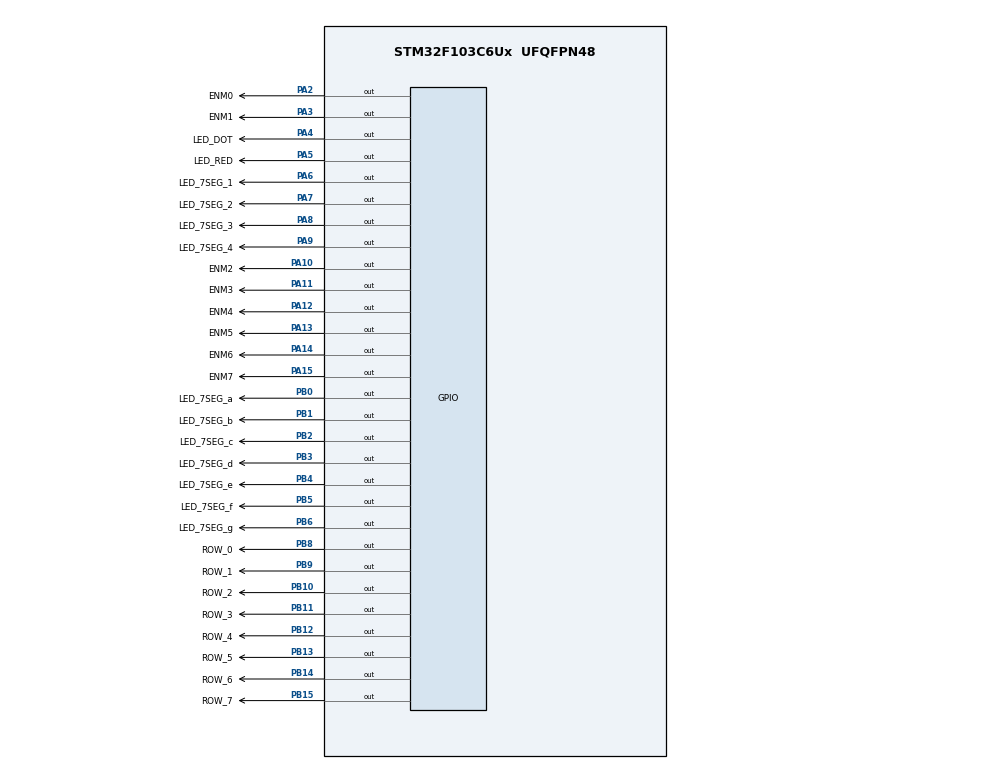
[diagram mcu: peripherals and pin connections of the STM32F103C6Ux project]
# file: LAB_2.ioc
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Mcu.Family=STM32F1
Mcu.Name=STM32F103C6Ux
Mcu.Package=UFQFPN48
NVIC.PriorityGroup=NVIC_PRIORITYGROUP_4
NVIC.TIM2_IRQn=true\:0\:0\:false\:false\:true\:true\:true
PA10.GPIO_Label=ENM2
PA10.Signal=GPIO_Output
PA11.GPIO_Label=ENM3
PA11.Signal=GPIO_Output
PA12.GPIO_Label=ENM4
PA12.Signal=GPIO_Output
PA13.GPIO_Label=ENM5
PA13.Signal=GPIO_Output
PA14.GPIO_Label=ENM6
PA14.Signal=GPIO_Output
PA15.GPIO_Label=ENM7
PA15.Signal=GPIO_Output
PA2.GPIO_Label=ENM0
PA2.Signal=GPIO_Output
PA3.GPIO_Label=ENM1
PA3.Signal=GPIO_Output
PA4.GPIO_Label=LED_DOT
PA4.Signal=GPIO_Output
PA5.GPIO_Label=LED_RED
PA5.Signal=GPIO_Output
PA6.GPIO_Label=LED_7SEG_1
PA6.Signal=GPIO_Output
PA7.GPIO_Label=LED_7SEG_2
PA7.Signal=GPIO_Output
PA8.GPIO_Label=LED_7SEG_3
PA8.Signal=GPIO_Output
PA9.GPIO_Label=LED_7SEG_4
PA9.Signal=GPIO_Output
PB0.GPIO_Label=LED_7SEG_a
PB0.Signal=GPIO_Output
PB1.GPIO_Label=LED_7SEG_b
PB1.Signal=GPIO_Output
PB10.GPIO_Label=ROW_2
PB10.Signal=GPIO_Output
PB11.GPIO_Label=ROW_3
PB11.Signal=GPIO_Output
PB12.GPIO_Label=ROW_4
PB12.Signal=GPIO_Output
PB13.GPIO_Label=ROW_5
PB13.Signal=GPIO_Output
PB14.GPIO_Label=ROW_6
PB14.Signal=GPIO_Output
PB15.GPIO_Label=ROW_7
PB15.Signal=GPIO_Output
PB2.GPIO_Label=LED_7SEG_c
PB2.Signal=GPIO_Output
PB3.GPIO_Label=LED_7SEG_d
PB3.Signal=GPIO_Output
PB4.GPIO_Label=LED_7SEG_e
PB4.Signal=GPIO_Output
PB5.GPIO_Label=LED_7SEG_f
PB5.Signal=GPIO_Output
PB6.GPIO_Label=LED_7SEG_g
PB6.Signal=GPIO_Output
PB8.GPIO_Label=ROW_0
PB8.Signal=GPIO_Output
PB9.GPIO_Label=ROW_1
PB9.Signal=GPIO_Output
ProjectManager.HeapSize=0x200
ProjectManager.StackSize=0x400
ProjectManager.TargetToolchain=STM32CubeIDE
RCC.AHBFreq_Value=8000000
RCC.APB1Freq_Value=8000000
RCC.APB1TimFreq_Value=8000000
RCC.APB2Freq_Value=8000000
RCC.APB2TimFreq_Value=8000000
RCC.HCLKFreq_Value=8000000
TIM2.Period=9
TIM2.Prescaler=1999
VP_SYS_VS_ND.Mode=No_Debug
VP_TIM2_VS_ClockSourceINT.Mode=Internal
board=custom

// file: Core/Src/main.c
/* USER CODE BEGIN Header */
/**
  ******************************************************************************
  * @file           : main.c
  * @brief          : Main program body
  ******************************************************************************
  * @attention
  *
  * <h2><center>&copy; Copyright (c) 2025 STMicroelectronics.
  * All rights reserved.</center></h2>
  *
  * This software component is licensed by ST under BSD 3-Clause license,
  * the "License"; You may not use this file except in compliance with the
  * License. You may obtain a copy of the License at:
  *                        opensource.org/licenses/BSD-3-Clause
  *
  ******************************************************************************
  */
/* USER CODE END Header */
#include "main.h"

/* USER CODE BEGIN Includes */
#include "software_timer.h"
/* USER CODE END Includes */

TIM_HandleTypeDef htim2;

/* USER CODE BEGIN PV */
const int MAX_LED_MATRIX = 8;
uint8_t matrix_buffer[8] = {0x18, 0x3C, 0x66, 0x66, 0x7E, 0x7E, 0x66, 0x66};

int hour = 15, minute = 08, second = 55;
/* USER CODE END PV */

void SystemClock_Config(void);
static void MX_TIM2_Init(void);
static void MX_GPIO_Init(void);

int main(void)
{

  /* MCU Configuration--------------------------------------------------------*/

  /* Reset of all peripherals, Initializes the Flash interface and the Systick. */
  HAL_Init();

  /* Configure the system clock */
  SystemClock_Config();

  /* Initialize all configured peripherals */
  MX_TIM2_Init();
  MX_GPIO_Init();
  /* USER CODE BEGIN 2 */
  HAL_TIM_Base_Start_IT(&htim2);
  HAL_GPIO_WritePin(LED_7SEG_1_GPIO_Port, LED_7SEG_1_Pin, SET);
  HAL_GPIO_WritePin(LED_7SEG_2_GPIO_Port, LED_7SEG_2_Pin, SET);
  HAL_GPIO_WritePin(LED_7SEG_3_GPIO_Port, LED_7SEG_3_Pin, SET);
  HAL_GPIO_WritePin(LED_7SEG_4_GPIO_Port, LED_7SEG_4_Pin, SET);

  //HAL_GPIO_WritePin(ROW_2_GPIO_Port, ROW_2_Pin, SET);

  /* USER CODE END 2 */

  /* Infinite loop */
  /* USER CODE BEGIN WHILE */
  setTimer0(100);//toggle led per second
  setTimer1(100);//toggle dot per second
  setTimer2(100);//digital clock set timer
  setTimer3(100);//update 7seg led buffer
  setTimer4(5);//led matrix
  setTimer5(200);//shift left
  int index_led_buffer = 0;
  int index_led_matrix = 0;
  while (1)
  {
	  //toggle led red per second
	  if(timer0_flag == 1)
	  {
		  setTimer0(400);
		  HAL_GPIO_TogglePin(LED_RED_GPIO_Port, LED_RED_Pin);
	  }
	  //toggle dot per second
	  if(timer1_flag == 1)
	  {
		  setTimer1(400);
		  HAL_GPIO_TogglePin(LED_DOT_GPIO_Port, LED_DOT_Pin);
	  }
	  //digital clock, update h, m, s
	  if(timer2_flag == 1)
	  {
		  setTimer2(400);
		  second++;
		  if(second >= 60)
		  {
			  second = 0;
			  minute++;
		  }
		  if(minute >= 60)
		  {
			  minute = 0;
			  hour++;
		  }
		  if(hour >= 24)
		  {
			  hour = 0;
		  }
		  updateClockBuffer();
	  }
	  //update led_buffer
	  if(timer3_flag == 1)
	  {
		  setTimer3(200);
		  update7SEG(index_led_buffer);
		  index_led_buffer++;
		  if(index_led_buffer >= 4) index_led_buffer = 0;
	  }
	  //display letter "A"
	  if(timer4_flag == 1)
	  {
		  setTimer4(2);
		  updateLEDMatrix(index_led_matrix);
		  index_led_matrix++;
		  if(index_led_matrix >= 8) index_led_matrix = 0;
	  }
	  //shift left animation
	  if(timer5_flag == 1)
	  {
		  setTimer5(100);
          for (int i = 0; i < 8; i++)
          {
        	  clearLedMatrix();
        	  uint8_t left_bit = (matrix_buffer[i] & 0x80) >> 7;
        	  matrix_buffer[i] = (matrix_buffer[i] << 1) | left_bit;

          }
	  }

    /* USER CODE END WHILE */

  }
}

void SystemClock_Config(void)
{
  RCC_OscInitTypeDef RCC_OscInitStruct = {0};
  RCC_ClkInitTypeDef RCC_ClkInitStruct = {0};

  /** Initializes the RCC Oscillators according to the specified parameters
  * in the RCC_OscInitTypeDef structure.
  */
  RCC_OscInitStruct.OscillatorType = RCC_OSCILLATORTYPE_HSI;
  RCC_OscInitStruct.HSIState = RCC_HSI_ON;
  RCC_OscInitStruct.HSICalibrationValue = RCC_HSICALIBRATION_DEFAULT;
  RCC_OscInitStruct.PLL.PLLState = RCC_PLL_NONE;
  if (HAL_RCC_OscConfig(&RCC_OscInitStruct) != HAL_OK)
  {
    Error_Handler();
  }
  /** Initializes the CPU, AHB and APB buses clocks
  */
  RCC_ClkInitStruct.ClockType = RCC_CLOCKTYPE_HCLK|RCC_CLOCKTYPE_SYSCLK
                              |RCC_CLOCKTYPE_PCLK1|RCC_CLOCKTYPE_PCLK2;
  RCC_ClkInitStruct.SYSCLKSource = RCC_SYSCLKSOURCE_HSI;
  RCC_ClkInitStruct.AHBCLKDivider = RCC_SYSCLK_DIV1;
  RCC_ClkInitStruct.APB1CLKDivider = RCC_HCLK_DIV1;
  RCC_ClkInitStruct.APB2CLKDivider = RCC_HCLK_DIV1;

  if (HAL_RCC_ClockConfig(&RCC_ClkInitStruct, FLASH_LATENCY_0) != HAL_OK)
  {
    Error_Handler();
  }
}

static void MX_TIM2_Init(void)
{

  TIM_ClockConfigTypeDef sClockSourceConfig = {0};
  TIM_MasterConfigTypeDef sMasterConfig = {0};

  htim2.Instance = TIM2;
  htim2.Init.Prescaler = 1999;
  htim2.Init.CounterMode = TIM_COUNTERMODE_UP;
  htim2.Init.Period = 9;
  htim2.Init.ClockDivision = TIM_CLOCKDIVISION_DIV1;
  htim2.Init.AutoReloadPreload = TIM_AUTORELOAD_PRELOAD_DISABLE;
  if (HAL_TIM_Base_Init(&htim2) != HAL_OK)
  {
    Error_Handler();
  }
  sClockSourceConfig.ClockSource = TIM_CLOCKSOURCE_INTERNAL;
  if (HAL_TIM_ConfigClockSource(&htim2, &sClockSourceConfig) != HAL_OK)
  {
    Error_Handler();
  }
  sMasterConfig.MasterOutputTrigger = TIM_TRGO_RESET;
  sMasterConfig.MasterSlaveMode = TIM_MASTERSLAVEMODE_DISABLE;
  if (HAL_TIMEx_MasterConfigSynchronization(&htim2, &sMasterConfig) != HAL_OK)
  {
    Error_Handler();
  }

}

static void MX_GPIO_Init(void)
{
  GPIO_InitTypeDef GPIO_InitStruct = {0};

  /* GPIO Ports Clock Enable */
  __HAL_RCC_GPIOA_CLK_ENABLE();
  __HAL_RCC_GPIOB_CLK_ENABLE();

  /*Configure GPIO pin Output Level */
  HAL_GPIO_WritePin(GPIOA, ENM0_Pin|ENM1_Pin|LED_DOT_Pin|LED_RED_Pin
                          |LED_7SEG_1_Pin|LED_7SEG_2_Pin|LED_7SEG_3_Pin|LED_7SEG_4_Pin
                          |ENM2_Pin|ENM3_Pin|ENM4_Pin|ENM5_Pin
                          |ENM6_Pin|ENM7_Pin, GPIO_PIN_RESET);

  /*Configure GPIO pin Output Level */
  HAL_GPIO_WritePin(GPIOB, LED_7SEG_a_Pin|LED_7SEG_b_Pin|LED_7SEG_c_Pin|ROW_2_Pin
                          |ROW_3_Pin|ROW_4_Pin|ROW_5_Pin|ROW_6_Pin
                          |ROW_7_Pin|LED_7SEG_d_Pin|LED_7SEG_e_Pin|LED_7SEG_f_Pin
                          |LED_7SEG_g_Pin|ROW_0_Pin|ROW_1_Pin, GPIO_PIN_RESET);

  /*Configure GPIO pins : ENM0_Pin ENM1_Pin LED_DOT_Pin LED_RED_Pin
                           LED_7SEG_1_Pin LED_7SEG_2_Pin LED_7SEG_3_Pin LED_7SEG_4_Pin
                           ENM2_Pin ENM3_Pin ENM4_Pin ENM5_Pin
                           ENM6_Pin ENM7_Pin */
  GPIO_InitStruct.Pin = ENM0_Pin|ENM1_Pin|LED_DOT_Pin|LED_RED_Pin
                          |LED_7SEG_1_Pin|LED_7SEG_2_Pin|LED_7SEG_3_Pin|LED_7SEG_4_Pin
                          |ENM2_Pin|ENM3_Pin|ENM4_Pin|ENM5_Pin
                          |ENM6_Pin|ENM7_Pin;
  GPIO_InitStruct.Mode = GPIO_MODE_OUTPUT_PP;
  GPIO_InitStruct.Pull = GPIO_NOPULL;
  GPIO_InitStruct.Speed = GPIO_SPEED_FREQ_LOW;
  HAL_GPIO_Init(GPIOA, &GPIO_InitStruct);

  /*Configure GPIO pins : LED_7SEG_a_Pin LED_7SEG_b_Pin LED_7SEG_c_Pin ROW_2_Pin
                           ROW_3_Pin ROW_4_Pin ROW_5_Pin ROW_6_Pin
                           ROW_7_Pin LED_7SEG_d_Pin LED_7SEG_e_Pin LED_7SEG_f_Pin
                           LED_7SEG_g_Pin ROW_0_Pin ROW_1_Pin */
  GPIO_InitStruct.Pin = LED_7SEG_a_Pin|LED_7SEG_b_Pin|LED_7SEG_c_Pin|ROW_2_Pin
                          |ROW_3_Pin|ROW_4_Pin|ROW_5_Pin|ROW_6_Pin
                          |ROW_7_Pin|LED_7SEG_d_Pin|LED_7SEG_e_Pin|LED_7SEG_f_Pin
                          |LED_7SEG_g_Pin|ROW_0_Pin|ROW_1_Pin;
  GPIO_InitStruct.Mode = GPIO_MODE_OUTPUT_PP;
  GPIO_InitStruct.Pull = GPIO_NOPULL;
  GPIO_InitStruct.Speed = GPIO_SPEED_FREQ_LOW;
  HAL_GPIO_Init(GPIOB, &GPIO_InitStruct);

}

/* USER CODE BEGIN 4 */

void HAL_TIM_PeriodElapsedCallback(TIM_HandleTypeDef *htim){
	timerRun();

}
void clear7SEG(){
	HAL_GPIO_WritePin(LED_7SEG_a_GPIO_Port, LED_7SEG_a_Pin, SET);
	HAL_GPIO_WritePin(LED_7SEG_a_GPIO_Port, LED_7SEG_a_Pin, SET);
	HAL_GPIO_WritePin(LED_7SEG_b_GPIO_Port, LED_7SEG_b_Pin, SET);
	HAL_GPIO_WritePin(LED_7SEG_c_GPIO_Port, LED_7SEG_c_Pin, SET);
	HAL_GPIO_WritePin(LED_7SEG_d_GPIO_Port, LED_7SEG_d_Pin, SET);
	HAL_GPIO_WritePin(LED_7SEG_e_GPIO_Port, LED_7SEG_e_Pin, SET);
	HAL_GPIO_WritePin(LED_7SEG_f_GPIO_Port, LED_7SEG_f_Pin, SET);
	HAL_GPIO_WritePin(LED_7SEG_g_GPIO_Port, LED_7SEG_g_Pin, SET);
}
void display7SEG(int num){
	switch (num)
	{
	case 0:
		HAL_GPIO_WritePin(LED_7SEG_a_GPIO_Port, LED_7SEG_a_Pin, RESET);
		HAL_GPIO_WritePin(LED_7SEG_b_GPIO_Port, LED_7SEG_b_Pin, RESET);
		HAL_GPIO_WritePin(LED_7SEG_c_GPIO_Port, LED_7SEG_c_Pin, RESET);
		HAL_GPIO_WritePin(LED_7SEG_d_GPIO_Port, LED_7SEG_d_Pin, RESET);
		HAL_GPIO_WritePin(LED_7SEG_e_GPIO_Port, LED_7SEG_e_Pin, RESET);
		HAL_GPIO_WritePin(LED_7SEG_f_GPIO_Port, LED_7SEG_f_Pin, RESET);
		HAL_GPIO_WritePin(LED_7SEG_g_GPIO_Port, LED_7SEG_g_Pin, SET);
		break;
	case 1:
		HAL_GPIO_WritePin(LED_7SEG_a_GPIO_Port, LED_7SEG_a_Pin, SET);
		HAL_GPIO_WritePin(LED_7SEG_b_GPIO_Port, LED_7SEG_b_Pin, RESET);
		HAL_GPIO_WritePin(LED_7SEG_c_GPIO_Port, LED_7SEG_c_Pin, RESET);
		HAL_GPIO_WritePin(LED_7SEG_d_GPIO_Port, LED_7SEG_d_Pin, SET);
		HAL_GPIO_WritePin(LED_7SEG_e_GPIO_Port, LED_7SEG_e_Pin, SET);
		HAL_GPIO_WritePin(LED_7SEG_f_GPIO_Port, LED_7SEG_f_Pin, SET);
		HAL_GPIO_WritePin(LED_7SEG_g_GPIO_Port, LED_7SEG_g_Pin, SET);
		break;
	case 2:
		HAL_GPIO_WritePin(LED_7SEG_a_GPIO_Port, LED_7SEG_a_Pin, RESET);
		HAL_GPIO_WritePin(LED_7SEG_b_GPIO_Port, LED_7SEG_b_Pin, RESET);
		HAL_GPIO_WritePin(LED_7SEG_c_GPIO_Port, LED_7SEG_c_Pin, SET);
		HAL_GPIO_WritePin(LED_7SEG_d_GPIO_Port, LED_7SEG_d_Pin, RESET);
		HAL_GPIO_WritePin(LED_7SEG_e_GPIO_Port, LED_7SEG_e_Pin, RESET);
		HAL_GPIO_WritePin(LED_7SEG_f_GPIO_Port, LED_7SEG_f_Pin, SET);
		HAL_GPIO_WritePin(LED_7SEG_g_GPIO_Port, LED_7SEG_g_Pin, RESET);
		break;
	case 3:
		HAL_GPIO_WritePin(LED_7SEG_a_GPIO_Port, LED_7SEG_a_Pin, RESET);
		HAL_GPIO_WritePin(LED_7SEG_b_GPIO_Port, LED_7SEG_b_Pin, RESET);
		HAL_GPIO_WritePin(LED_7SEG_c_GPIO_Port, LED_7SEG_c_Pin, RESET);
		HAL_GPIO_WritePin(LED_7SEG_d_GPIO_Port, LED_7SEG_d_Pin, RESET);
		HAL_GPIO_WritePin(LED_7SEG_e_GPIO_Port, LED_7SEG_e_Pin, SET);
		HAL_GPIO_WritePin(LED_7SEG_f_GPIO_Port, LED_7SEG_f_Pin, SET);
		HAL_GPIO_WritePin(LED_7SEG_g_GPIO_Port, LED_7SEG_g_Pin, RESET);
		break;
	case 4:
		HAL_GPIO_WritePin(LED_7SEG_a_GPIO_Port, LED_7SEG_a_Pin, SET);
		HAL_GPIO_WritePin(LED_7SEG_b_GPIO_Port, LED_7SEG_b_Pin, RESET);
		HAL_GPIO_WritePin(LED_7SEG_c_GPIO_Port, LED_7SEG_c_Pin, RESET);
		HAL_GPIO_WritePin(LED_7SEG_d_GPIO_Port, LED_7SEG_d_Pin, SET);
		HAL_GPIO_WritePin(LED_7SEG_e_GPIO_Port, LED_7SEG_e_Pin, SET);
		HAL_GPIO_WritePin(LED_7SEG_f_GPIO_Port, LED_7SEG_f_Pin, RESET);
		HAL_GPIO_WritePin(LED_7SEG_g_GPIO_Port, LED_7SEG_g_Pin, RESET);
		break;
	case 5:
		HAL_GPIO_WritePin(LED_7SEG_a_GPIO_Port, LED_7SEG_a_Pin, RESET);
		HAL_GPIO_WritePin(LED_7SEG_b_GPIO_Port, LED_7SEG_b_Pin, SET);
		HAL_GPIO_WritePin(LED_7SEG_c_GPIO_Port, LED_7SEG_c_Pin, RESET);
		HAL_GPIO_WritePin(LED_7SEG_d_GPIO_Port, LED_7SEG_d_Pin, RESET);
		HAL_GPIO_WritePin(LED_7SEG_e_GPIO_Port, LED_7SEG_e_Pin, SET);
		HAL_GPIO_WritePin(LED_7SEG_f_GPIO_Port, LED_7SEG_f_Pin, RESET);
		HAL_GPIO_WritePin(LED_7SEG_g_GPIO_Port, LED_7SEG_g_Pin, RESET);
		break;
	case 6:
		HAL_GPIO_WritePin(LED_7SEG_a_GPIO_Port, LED_7SEG_a_Pin, RESET);
		HAL_GPIO_WritePin(LED_7SEG_b_GPIO_Port, LED_7SEG_b_Pin, SET);
		HAL_GPIO_WritePin(LED_7SEG_c_GPIO_Port, LED_7SEG_c_Pin, RESET);
		HAL_GPIO_WritePin(LED_7SEG_d_GPIO_Port, LED_7SEG_d_Pin, RESET);
		HAL_GPIO_WritePin(LED_7SEG_e_GPIO_Port, LED_7SEG_e_Pin, RESET);
		HAL_GPIO_WritePin(LED_7SEG_f_GPIO_Port, LED_7SEG_f_Pin, RESET);
		HAL_GPIO_WritePin(LED_7SEG_g_GPIO_Port, LED_7SEG_g_Pin, RESET);
		break;
	case 7:
		HAL_GPIO_WritePin(LED_7SEG_a_GPIO_Port, LED_7SEG_a_Pin, RESET);
		HAL_GPIO_WritePin(LED_7SEG_b_GPIO_Port, LED_7SEG_b_Pin, RESET);
		HAL_GPIO_WritePin(LED_7SEG_c_GPIO_Port, LED_7SEG_c_Pin, RESET);
		HAL_GPIO_WritePin(LED_7SEG_d_GPIO_Port, LED_7SEG_d_Pin, SET);
		HAL_GPIO_WritePin(LED_7SEG_e_GPIO_Port, LED_7SEG_e_Pin, SET);
		HAL_GPIO_WritePin(LED_7SEG_f_GPIO_Port, LED_7SEG_f_Pin, SET);
		HAL_GPIO_WritePin(LED_7SEG_g_GPIO_Port, LED_7SEG_g_Pin, SET);
		break;
	case 8:
		HAL_GPIO_WritePin(LED_7SEG_a_GPIO_Port, LED_7SEG_a_Pin, RESET);
		HAL_GPIO_WritePin(LED_7SEG_b_GPIO_Port, LED_7SEG_b_Pin, RESET);
		HAL_GPIO_WritePin(LED_7SEG_c_GPIO_Port, LED_7SEG_c_Pin, RESET);
		HAL_GPIO_WritePin(LED_7SEG_d_GPIO_Port, LED_7SEG_d_Pin, RESET);
		HAL_GPIO_WritePin(LED_7SEG_e_GPIO_Port, LED_7SEG_e_Pin, RESET);
		HAL_GPIO_WritePin(LED_7SEG_f_GPIO_Port, LED_7SEG_f_Pin, RESET);
		HAL_GPIO_WritePin(LED_7SEG_g_GPIO_Port, LED_7SEG_g_Pin, RESET);
		break;
	case 9:
		HAL_GPIO_WritePin(LED_7SEG_a_GPIO_Port, LED_7SEG_a_Pin, RESET);
		HAL_GPIO_WritePin(LED_7SEG_b_GPIO_Port, LED_7SEG_b_Pin, RESET);
		HAL_GPIO_WritePin(LED_7SEG_c_GPIO_Port, LED_7SEG_c_Pin, RESET);
		HAL_GPIO_WritePin(LED_7SEG_d_GPIO_Port, LED_7SEG_d_Pin, RESET);
		HAL_GPIO_WritePin(LED_7SEG_e_GPIO_Port, LED_7SEG_e_Pin, SET);
		HAL_GPIO_WritePin(LED_7SEG_f_GPIO_Port, LED_7SEG_f_Pin, RESET);
		HAL_GPIO_WritePin(LED_7SEG_g_GPIO_Port, LED_7SEG_g_Pin, RESET);
		break;
	default:
		break;
	}
}
const int MAX_LED = 4;
int index_led = 0;
int led_buffer[4] = {1, 2, 3, 4};
void update7SEG(int index){
	switch (index){
	case 0:
		HAL_GPIO_WritePin(LED_7SEG_1_GPIO_Port, LED_7SEG_1_Pin, RESET);
		HAL_GPIO_WritePin(LED_7SEG_2_GPIO_Port, LED_7SEG_2_Pin, SET);
		HAL_GPIO_WritePin(LED_7SEG_3_GPIO_Port, LED_7SEG_3_Pin, SET);
		HAL_GPIO_WritePin(LED_7SEG_4_GPIO_Port, LED_7SEG_4_Pin, SET);
		display7SEG(led_buffer[index]);
		break;
	case 1:
		HAL_GPIO_WritePin(LED_7SEG_1_GPIO_Port, LED_7SEG_1_Pin, SET);
		HAL_GPIO_WritePin(LED_7SEG_2_GPIO_Port, LED_7SEG_2_Pin, RESET);
		HAL_GPIO_WritePin(LED_7SEG_3_GPIO_Port, LED_7SEG_3_Pin, SET);
		HAL_GPIO_WritePin(LED_7SEG_4_GPIO_Port, LED_7SEG_4_Pin, SET);
		display7SEG(led_buffer[index]);
		break;
	case 2:
		HAL_GPIO_WritePin(LED_7SEG_1_GPIO_Port, LED_7SEG_1_Pin, SET);
		HAL_GPIO_WritePin(LED_7SEG_2_GPIO_Port, LED_7SEG_2_Pin, SET);
		HAL_GPIO_WritePin(LED_7SEG_3_GPIO_Port, LED_7SEG_3_Pin, RESET);
		HAL_GPIO_WritePin(LED_7SEG_4_GPIO_Port, LED_7SEG_4_Pin, SET);
		display7SEG(led_buffer[index]);
		break;
	case 3:
		HAL_GPIO_WritePin(LED_7SEG_1_GPIO_Port, LED_7SEG_1_Pin, SET);
		HAL_GPIO_WritePin(LED_7SEG_2_GPIO_Port, LED_7SEG_2_Pin, SET);
		HAL_GPIO_WritePin(LED_7SEG_3_GPIO_Port, LED_7SEG_3_Pin, SET);
		HAL_GPIO_WritePin(LED_7SEG_4_GPIO_Port, LED_7SEG_4_Pin, RESET);
		display7SEG(led_buffer[index]);
		break;
	default:
		clear7SEG();
		break;
	}
}
void updateClockBuffer(){
	//hour
	led_buffer[0] = hour / 10;
	led_buffer[1] = hour % 10;

	//minute
	led_buffer[2] = minute / 10;
	led_buffer[3] = minute % 10;
}

//void clearLedMatrix()
//{
//	HAL_GPIO_WritePin(ROW_0_GPIO_Port, ROW_0_Pin, SET);
//	HAL_GPIO_WritePin(ROW_1_GPIO_Port, ROW_1_Pin, SET);
//	HAL_GPIO_WritePin(ROW_2_GPIO_Port, ROW_2_Pin, SET);
//	HAL_GPIO_WritePin(ROW_3_GPIO_Port, ROW_3_Pin, SET);
//	HAL_GPIO_WritePin(ROW_4_GPIO_Port, ROW_4_Pin, SET);
//	HAL_GPIO_WritePin(ROW_5_GPIO_Port, ROW_5_Pin, SET);
//	HAL_GPIO_WritePin(ROW_6_GPIO_Port, ROW_6_Pin, SET);
//	HAL_GPIO_WritePin(ROW_7_GPIO_Port, ROW_7_Pin, SET);
//}

void clearLedMatrix()
{
	HAL_GPIO_WritePin(GPIOB, ROW_0_Pin | ROW_1_Pin | ROW_2_Pin | ROW_3_Pin
							| ROW_4_Pin | ROW_5_Pin | ROW_6_Pin | ROW_7_Pin, SET);
}
void updateLEDMatrix(int index){
	clearLedMatrix();
	uint8_t row = matrix_buffer[index];
	for(int i = 0; i < 8; i++)
	{
		GPIO_PinState state;
		if((row >> i) & 0x01)
		{
			state = RESET;
		}
		else state = SET;
		switch(i){
		case 0:
			HAL_GPIO_WritePin(ENM0_GPIO_Port, ENM0_Pin, state); break;
		case 1:
			HAL_GPIO_WritePin(ENM1_GPIO_Port, ENM1_Pin, state); break;
		case 2:
			HAL_GPIO_WritePin(ENM2_GPIO_Port, ENM2_Pin, state); break;
		case 3:
			HAL_GPIO_WritePin(ENM3_GPIO_Port, ENM3_Pin, state); break;
		case 4:
			HAL_GPIO_WritePin(ENM4_GPIO_Port, ENM4_Pin, state); break;
		case 5:
			HAL_GPIO_WritePin(ENM5_GPIO_Port, ENM5_Pin, state); break;
		case 6:
			HAL_GPIO_WritePin(ENM6_GPIO_Port, ENM6_Pin, state); break;
		case 7:
			HAL_GPIO_WritePin(ENM7_GPIO_Port, ENM7_Pin, state); break;
		default: break;
		}
	}
	switch (index){
	case 0:
		HAL_GPIO_WritePin(ROW_0_GPIO_Port, ROW_0_Pin, RESET); break;
	case 1:
		HAL_GPIO_WritePin(ROW_1_GPIO_Port, ROW_1_Pin, RESET); break;
	case 2:
		HAL_GPIO_WritePin(ROW_2_GPIO_Port, ROW_2_Pin, RESET); break;
	case 3:
		HAL_GPIO_WritePin(ROW_3_GPIO_Port, ROW_3_Pin, RESET); break;
	case 4:
		HAL_GPIO_WritePin(ROW_4_GPIO_Port, ROW_4_Pin, RESET); break;
	case 5:
		HAL_GPIO_WritePin(ROW_5_GPIO_Port, ROW_5_Pin, RESET); break;
	case 6:
		HAL_GPIO_WritePin(ROW_6_GPIO_Port, ROW_6_Pin, RESET); break;
	case 7:
		HAL_GPIO_WritePin(ROW_7_GPIO_Port, ROW_7_Pin, RESET); break;
	default: break;
	}
}

/* USER CODE END 4 */

void Error_Handler(void)
{
  __disable_irq();
  while (1)
  {
  }
}

/************************ (C) COPYRIGHT STMicroelectronics *****END OF FILE****/
